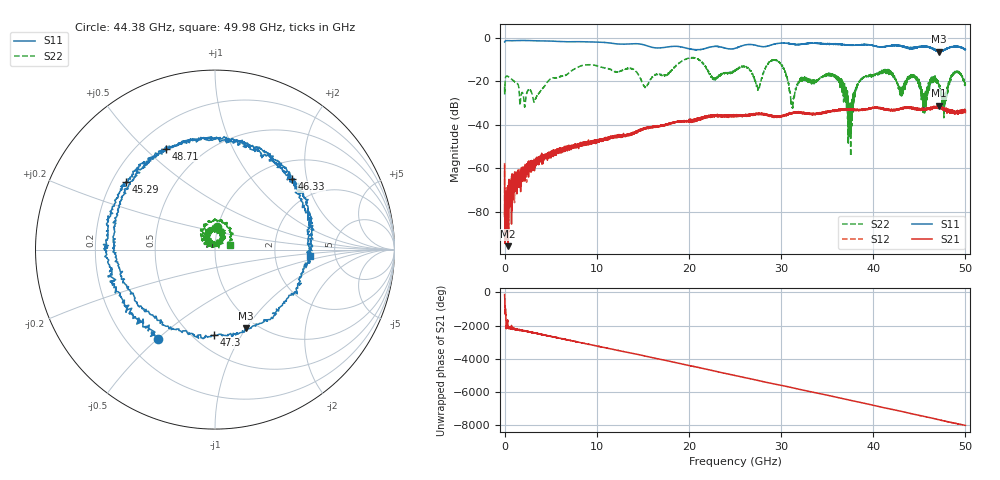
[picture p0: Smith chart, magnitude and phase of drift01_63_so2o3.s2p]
!Created with skrf (http://scikit-rf.org).
# Hz S RI R 50.0
!freq ReS11 ImS11 ReS21 ImS21 ReS12 ImS12 ReS22 ImS22
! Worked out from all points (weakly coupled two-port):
!   10001 points, 300 kHz to 50 GHz, reference 50 ohm
!   highest |S21| = -31.34 dB at 47.09 GHz (marker M1); lowest = -95.7 dB at 345.3 MHz (marker M2)
!   lowest |S11| = -6.5 dB at 47.15 GHz (marker M3), VSWR 2.78, Z = 44.1 - j49.9 ohm
!   |S11| at or under -10 dB: nowhere
!   |S22| runs from -54.4 to -9.2 dB; largest |S21 - S12| = 0.0033
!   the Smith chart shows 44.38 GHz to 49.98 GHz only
!   S11 on the Smith chart (normalised r, x): 44.38 GHz: 0.33, -0.51; 45.29 GHz: 0.26, +0.32; 46.33 GHz: 1.37, +1.64; 47.3 GHz: 0.62, -0.77; 48.71 GHz: 0.32, +0.58; 49.98 GHz: 3.22, -0.31
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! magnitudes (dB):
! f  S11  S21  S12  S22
! 300 kHz  -2.1  -58.8  -57.6  -22.6
! 345.3 MHz  -1.4  -95.7  -67.5  -17.8
! 3.285 GHz  -1.5  -57.9  -58.0  -28.8
! 8.335 GHz  -1.9  -48.9  -48.7  -12.9
! 16.67 GHz  -4.8  -40.9  -41.0  -16.7
! 25 GHz  -5.0  -35.9  -35.9  -15.4
! 29.58 GHz  -2.8  -36.1  -36.4  -10.7
! 31.23 GHz  -3.0  -34.7  -34.9  -32.3
! 33.34 GHz  -2.6  -35.0  -34.9  -20.4
! 36.11 GHz  -3.1  -33.3  -33.4  -19.5
! 37.47 GHz  -3.6  -33.2  -33.2  -32.4
! 38.66 GHz  -3.3  -33.1  -33.2  -19.3
! 41.67 GHz  -3.8  -33.1  -33.3  -16.2
! 44.38 GHz  -4.6  -32.4  -32.8  -18.1
! 45.29 GHz  -4.1  -32.8  -32.7  -24.3
! 46.33 GHz  -4.7  -32.3  -32.3  -19.1
! 47.09 GHz  -6.3  -31.3  -31.9  -21.3
! 47.15 GHz  -6.5  -32.4  -31.9  -22.4
! 47.3 GHz  -6.4  -32.1  -31.8  -24.9
! 48.71 GHz  -4.1  -34.5  -34.8  -16.4
! 49.98 GHz  -5.5  -33.1  -33.1  -21.1
! 50 GHz  -5.5  -34.5  -34.0  -21.6
